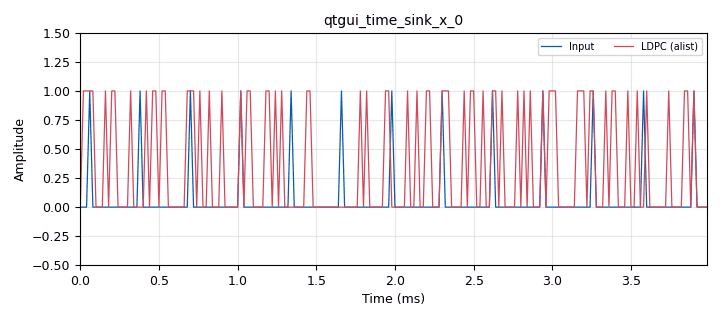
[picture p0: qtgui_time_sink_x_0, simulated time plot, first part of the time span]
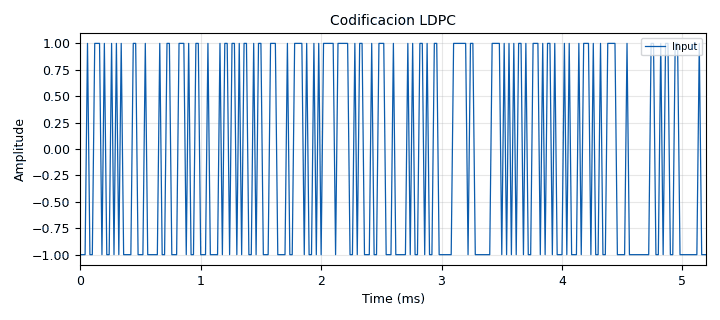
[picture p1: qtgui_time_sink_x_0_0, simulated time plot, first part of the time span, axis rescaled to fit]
options:
  parameters:
    author: Camila Vinza
    category: Custom
    generate_options: qt_gui
    id: ldpc_cod
    output_language: python
    title: LDPC Codificacion
  states: {}

blocks:
- name: freq_rds
  id: variable
  parameters:
    value: 77e6
  states: {}
- name: gainrx
  id: variable_qtgui_range
  parameters:
    label: GananciaRx
    start: '0'
    step: '1'
    stop: '100'
    value: '0'
  states: {}
- name: gaintx
  id: variable_qtgui_range
  parameters:
    label: GananciaTx
    start: '1'
    step: '1'
    stop: '100'
    value: '75'
  states: {}
- name: ldpc_dec
  id: variable_ldpc_decoder_def
  parameters:
    file: gr.prefix() + "/share/gnuradio/fec/ldpc/" + "n_1300_k_0522_gap_30.alist"
    max_iter: '25'
    ndim: '0'
  states: {}
- name: ldpc_enc
  id: variable_ldpc_encoder_def
  parameters:
    file: gr.prefix() + "/share/gnuradio/fec/ldpc/" + "n_1300_k_0522_gap_30.alist"
    ndim: '0'
  states: {}
- name: ruido
  id: variable_qtgui_range
  parameters:
    label: Ruido Gaussiano
    start: '0'
    step: '1'
    stop: '5'
    value: '3'
  states: {}
- name: samp_rate
  id: variable
  parameters:
    value: '50000'
  states: {}
- name: samp_rate_RDS
  id: variable
  parameters:
    value: 96e3
  states: {}
- name: analog_noise_source_x_0
  id: analog_noise_source_x
  parameters:
    amp: ruido
    noise_type: analog.GR_GAUSSIAN
    seed: '0'
    type: complex
  states: {}
- name: blocks_add_xx_0
  id: blocks_add_xx
  parameters:
    type: complex
  states: {}
- name: blocks_char_to_float_0
  id: blocks_char_to_float
  parameters:
    scale: '1'
  states: {}
- name: blocks_char_to_float_0_0_0_0
  id: blocks_char_to_float
  parameters:
    scale: '1'
  states: {}
- name: blocks_char_to_float_0_1
  id: blocks_char_to_float
  parameters:
    scale: '1'
  states: {}
- name: blocks_char_to_float_1
  id: blocks_char_to_float
  parameters:
    scale: '1'
  states: {}
- name: blocks_complex_to_float_0
  id: blocks_complex_to_float
  parameters: {}
  states: {}
- name: blocks_float_to_char_0
  id: blocks_float_to_char
  parameters:
    scale: '1'
  states: {}
- name: blocks_float_to_complex_0
  id: blocks_float_to_complex
  parameters: {}
  states: {}
- name: blocks_throttle2_0
  id: blocks_throttle2
  parameters:
    samples_per_second: samp_rate
    type: byte
  states: {}
- name: blocks_throttle2_1
  id: blocks_throttle2
  parameters:
    samples_per_second: samp_rate
    type: complex
  states: {}
- name: blocks_unpack_k_bits_bb_0
  id: blocks_unpack_k_bits_bb
  parameters:
    k: '8'
  states: {}
- name: blocks_vector_source_x_0_1_0
  id: blocks_vector_source_x
  parameters:
    repeat: 'True'
    type: byte
    vector: '[1,0,1,0,1,0]'
  states: {}
- name: digital_map_bb_0_0_0_0
  id: digital_map_bb
  parameters:
    map: '[-1, 1]'
  states: {}
- name: digital_map_bb_0_0_0_0_0
  id: digital_map_bb
  parameters:
    map: '[0, 1]'
  states: {}
- name: fec_ber_bf_0
  id: fec_ber_bf
  parameters:
    test_mode: 'False'
  states: {}
- name: fec_extended_decoder_0_1_0
  id: fec_extended_decoder
  parameters:
    decoder_list: ldpc_dec
    puncpat: puncpat
    threadtype: none
  states: {}
- name: fec_extended_encoder_1_0_0
  id: fec_extended_encoder
  parameters:
    encoder_list: ldpc_enc
    puncpat: puncpat
    threadtype: none
  states: {}
- name: frame_size
  id: parameter
  parameters:
    label: Frame Size
    type: intx
    value: '100'
  states: {}
- name: puncpat
  id: parameter
  parameters:
    value: '''11'''
  states: {}
- name: qtgui_number_sink_1
  id: qtgui_number_sink
  parameters:
    autoscale: 'True'
    graph_type: qtgui.NUM_GRAPH_VERT
    gui_hint: 1,2,1,1
    name: '"BER"'
    type: float
  states: {}
- name: qtgui_time_sink_x_0
  id: qtgui_time_sink_x
  parameters:
    alpha2: '0.6'
    gui_hint: 1,0,1,2
    label1: Input
    label2: LDPC (alist)
    nconnections: '2'
    size: '2048'
    srate: samp_rate
    type: float
    update_time: '0.01'
    ymax: '1.5'
    ymin: '-0.5'
  states: {}
- name: qtgui_time_sink_x_0_0
  id: qtgui_time_sink_x
  parameters:
    gui_hint: 0,0,1,3
    label1: Input
    name: '"Codificacion LDPC"'
    size: '2048'
    srate: samp_rate
    type: float
    update_time: '0.01'
    ymax: '1.5'
    ymin: '-0.5'
  states: {}
- name: uhd_usrp_sink_0_0
  id: uhd_usrp_sink
  parameters:
    ant0: '"TX/RX"'
    bw0: 10e3
    center_freq0: freq_rds
    comment: Transmisor USRP
    dev_addr: '"serial=30875AE"'
    gain0: gaintx
    samp_rate: samp_rate
    sync: pc_clock
    type: fc32
  states: {state: disabled}
- name: uhd_usrp_source_0
  id: uhd_usrp_source
  parameters:
    ant0: '"RX2"'
    bw0: 10e3
    center_freq0: freq_rds
    comment: Receptor USRP
    dev_addr: '"serial=30875AE"'
    gain0: gainrx
    samp_rate: samp_rate
    sync: pc_clock_next_pps
    type: fc32
  states: {state: disabled}
- name: virtual_sink_0
  id: virtual_sink
  parameters:
    stream_id: t1
  states: {}
- name: virtual_sink_1
  id: virtual_sink
  parameters:
    stream_id: original
  states: {}
- name: virtual_source_0
  id: virtual_source
  parameters:
    stream_id: t1
  states: {}
- name: virtual_source_1
  id: virtual_source
  parameters:
    stream_id: original
  states: {}

connections:
- [analog_noise_source_x_0, '0', blocks_add_xx_0, '0']
- [blocks_add_xx_0, '0', blocks_throttle2_1, '0']
- [blocks_add_xx_0, '0', uhd_usrp_sink_0_0, '0']
- [blocks_char_to_float_0, '0', fec_extended_decoder_0_1_0, '0']
- [blocks_char_to_float_0_0_0_0, '0', qtgui_time_sink_x_0, '1']
- [blocks_char_to_float_0_1, '0', qtgui_time_sink_x_0, '0']
- [blocks_char_to_float_1, '0', blocks_float_to_complex_0, '0']
- [blocks_char_to_float_1, '0', qtgui_time_sink_x_0_0, '0']
- [blocks_complex_to_float_0, '0', blocks_float_to_char_0, '0']
- [blocks_float_to_char_0, '0', digital_map_bb_0_0_0_0_0, '0']
- [blocks_float_to_complex_0, '0', blocks_add_xx_0, '1']
- [blocks_throttle2_0, '0', blocks_unpack_k_bits_bb_0, '0']
- [blocks_throttle2_1, '0', virtual_sink_0, '0']
- [blocks_unpack_k_bits_bb_0, '0', blocks_char_to_float_0_1, '0']
- [blocks_unpack_k_bits_bb_0, '0', fec_extended_encoder_1_0_0, '0']
- [blocks_unpack_k_bits_bb_0, '0', virtual_sink_1, '0']
- [blocks_vector_source_x_0_1_0, '0', blocks_throttle2_0, '0']
- [digital_map_bb_0_0_0_0, '0', blocks_char_to_float_1, '0']
- [digital_map_bb_0_0_0_0_0, '0', blocks_char_to_float_0, '0']
- [fec_ber_bf_0, '0', qtgui_number_sink_1, '0']
- [fec_extended_decoder_0_1_0, '0', blocks_char_to_float_0_0_0_0, '0']
- [fec_extended_decoder_0_1_0, '0', fec_ber_bf_0, '1']
- [fec_extended_encoder_1_0_0, '0', digital_map_bb_0_0_0_0, '0']
- [uhd_usrp_source_0, '0', blocks_complex_to_float_0, '0']
- [virtual_source_0, '0', blocks_complex_to_float_0, '0']
- [virtual_source_1, '0', fec_ber_bf_0, '0']

metadata:
  file_format: 1
  grc_version: 3.10.8.0
